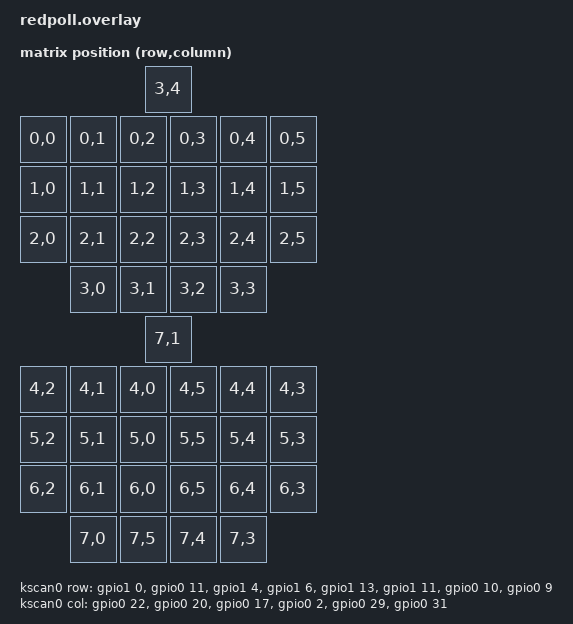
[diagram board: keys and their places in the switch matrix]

#include <dt-bindings/zmk/matrix_transform.h>

/ {
    chosen {
        zmk,battery = &vbatt;
        zmk,kscan = &kscan0;
        zmk,matrix_transform = &layout_grid_transform;
    };
    
    // &gpio1 6 means pin P1.06 on the pinout diagram for the nice!nano_v2: https://zmk.dev/docs/development/new-shield#shield-overlays
    kscan0: kscan {
        compatible = "zmk,kscan-gpio-matrix";
        label = "KSCAN";
                diode-direction = "col2row";
        row-gpios
            //right
            = <&gpio1 0  (GPIO_ACTIVE_HIGH | GPIO_PULL_DOWN)>  
            , <&gpio0 11 (GPIO_ACTIVE_HIGH | GPIO_PULL_DOWN)>
            , <&gpio1 4  (GPIO_ACTIVE_HIGH | GPIO_PULL_DOWN)>
            , <&gpio1 6  (GPIO_ACTIVE_HIGH | GPIO_PULL_DOWN)>

            // left
            , <&gpio1 13 (GPIO_ACTIVE_HIGH | GPIO_PULL_DOWN)>
            , <&gpio1 11 (GPIO_ACTIVE_HIGH | GPIO_PULL_DOWN)>
            , <&gpio0 10 (GPIO_ACTIVE_HIGH | GPIO_PULL_DOWN)>
            , <&gpio0 9  (GPIO_ACTIVE_HIGH | GPIO_PULL_DOWN)>  
            ;
        col-gpios
            = <&gpio0 22 GPIO_ACTIVE_HIGH>
            , <&gpio0 20 GPIO_ACTIVE_HIGH>
            , <&gpio0 17 GPIO_ACTIVE_HIGH> 
            , <&gpio0 2  GPIO_ACTIVE_HIGH>
            , <&gpio0 29 GPIO_ACTIVE_HIGH>
            , <&gpio0 31 GPIO_ACTIVE_HIGH>
            ;
    };
    
    layout_grid_transform:
    keymap_transform_0  {
        compatible = "zmk,matrix-transform";
	columns = <6>;
	rows = <8>;
	map = <                                                     RC(3,4)
                                                        RC(0,0) RC(0,1) RC(0,2) RC(0,3) RC(0,4) RC(0,5)
                                                        RC(1,0) RC(1,1) RC(1,2) RC(1,3) RC(1,4) RC(1,5)
                                                        RC(2,0) RC(2,1) RC(2,2) RC(2,3) RC(2,4) RC(2,5)
                                                        RC(3,0) RC(3,1) RC(3,2) RC(3,3)    
                                        RC(7,1)
        RC(4,2) RC(4,1) RC(4,0) RC(4,5) RC(4,4) RC(4,3)     
        RC(5,2) RC(5,1) RC(5,0) RC(5,5) RC(5,4) RC(5,3)     
	    RC(6,2) RC(6,1) RC(6,0) RC(6,5) RC(6,4) RC(6,3)     
                        RC(7,0) RC(7,5) RC(7,4) RC(7,3)    
	>;
  };

  ext-power {
        compatible = "zmk,ext-power-generic";
        label = "EXT_POWER";
        control-gpios = <&gpio0 13 GPIO_ACTIVE_HIGH>;
        init-delay-ms = <50>;
    };

    vbatt: vbatt {
        compatible = "zmk,battery-nrf-vddh";
        label = "BATTERY";
    };
};

